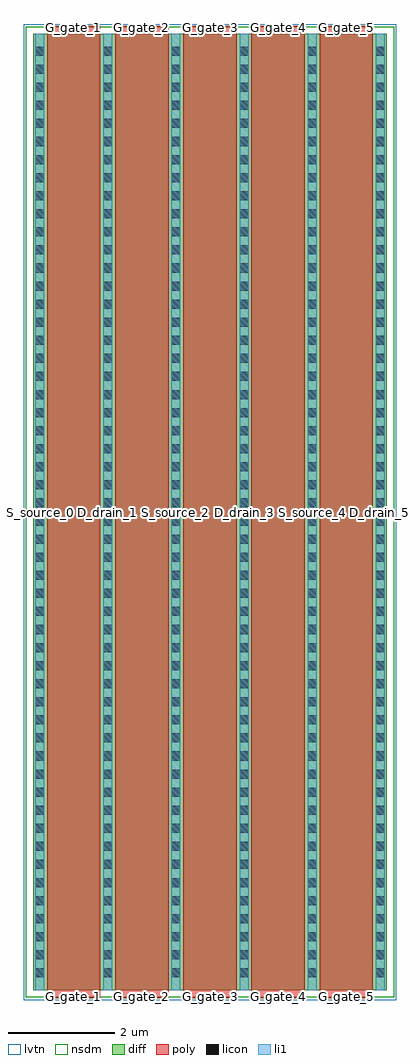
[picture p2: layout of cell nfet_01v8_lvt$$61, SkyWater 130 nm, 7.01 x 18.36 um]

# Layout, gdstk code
import gdstk
lib = gdstk.Library(unit=1e-6, precision=1e-09)
def R(c, l, rs):  # rectangles x0, y0, x1, y1
    for r in rs: c.add(gdstk.rectangle(r[:2], r[2:], *l))
def A(c, l, x, y, w, h, nx, ny, dx, dy):  # array of equal rectangles
    R(c, l, [(x+i*dx, y+j*dy, x+i*dx+w, y+j*dy+h) for i in range(nx) for j in range(ny)])
diff = (65, 20)
poly = (66, 20)
licon = (66, 44)
li1 = (67, 20)
nsdm = (93, 44)
lvtn = (125, 44)

nfet_01v8_lvt__61 = lib.new_cell('nfet_01v8_lvt$$61')
A(nfet_01v8_lvt__61, diff, 0, 0, 1, 18, 5, 1, 1.28, 0)
A(nfet_01v8_lvt__61, diff, 1, 0, 0.28, 18, 4, 1, 1.28, 0)
R(nfet_01v8_lvt__61, diff, [(-0.265,0,0,18), (6.12,0,6.385,18)])
A(nfet_01v8_lvt__61, poly, 0, -0.15, 1, 0.055, 5, 2, 1.28, 18.245)
A(nfet_01v8_lvt__61, poly, 0, -0.095, 1, 0.095, 5, 2, 1.28, 18.095)
A(nfet_01v8_lvt__61, poly, 0, 0, 1, 18, 5, 1, 1.28, 0)
A(nfet_01v8_lvt__61, licon, -0.225, 0.245, 0.17, 0.17, 6, 52, 1.28, 0.34)
A(nfet_01v8_lvt__61, li1, -0.225, 0, 0.17, 18, 6, 1, 1.28, 0)
R(nfet_01v8_lvt__61, nsdm, [(-0.405,-0.13,6.525,18.13)])
R(nfet_01v8_lvt__61, lvtn, [(-0.445,-0.18,6.565,18.18)])
nfet_01v8_lvt__61.add(gdstk.Label('D_drain_5', (6.252,9), layer=65, texttype=20))
nfet_01v8_lvt__61.add(gdstk.Label('S_source_0', (-0.132,9), layer=65, texttype=20))
nfet_01v8_lvt__61.add(gdstk.Label('G_gate_5', (5.62,-0.122), layer=66, texttype=20))
nfet_01v8_lvt__61.add(gdstk.Label('G_gate_5', (5.62,18.122), layer=66, texttype=20))
nfet_01v8_lvt__61.add(gdstk.Label('G_gate_4', (4.34,-0.122), layer=66, texttype=20))
nfet_01v8_lvt__61.add(gdstk.Label('G_gate_4', (4.34,18.122), layer=66, texttype=20))
nfet_01v8_lvt__61.add(gdstk.Label('G_gate_3', (3.06,-0.122), layer=66, texttype=20))
nfet_01v8_lvt__61.add(gdstk.Label('G_gate_3', (3.06,18.122), layer=66, texttype=20))
nfet_01v8_lvt__61.add(gdstk.Label('G_gate_2', (1.78,-0.122), layer=66, texttype=20))
nfet_01v8_lvt__61.add(gdstk.Label('G_gate_2', (1.78,18.122), layer=66, texttype=20))
nfet_01v8_lvt__61.add(gdstk.Label('G_gate_1', (0.5,-0.122), layer=66, texttype=20))
nfet_01v8_lvt__61.add(gdstk.Label('G_gate_1', (0.5,18.122), layer=66, texttype=20))
nfet_01v8_lvt__61.add(gdstk.Label('D_drain_5', (6.26,9), layer=67, texttype=20))
nfet_01v8_lvt__61.add(gdstk.Label('S_source_4', (4.98,9), layer=67, texttype=20))
nfet_01v8_lvt__61.add(gdstk.Label('D_drain_3', (3.7,9), layer=67, texttype=20))
nfet_01v8_lvt__61.add(gdstk.Label('S_source_2', (2.42,9), layer=67, texttype=20))
nfet_01v8_lvt__61.add(gdstk.Label('D_drain_1', (1.14,9), layer=67, texttype=20))
nfet_01v8_lvt__61.add(gdstk.Label('S_source_0', (-0.14,9), layer=67, texttype=20))

lib.write_gds('nfet_01v8_lvt__61.gds')
